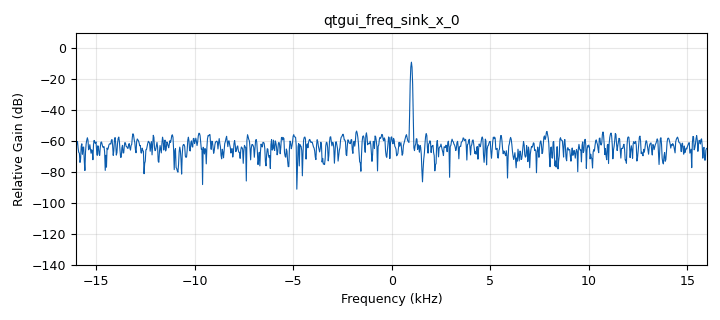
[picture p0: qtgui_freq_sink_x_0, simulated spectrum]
options:
  parameters:
    generate_options: qt_gui
    id: baseline_rx
    output_language: python
    title: Not titled yet
  states: {}

blocks:
- name: amp
  id: variable_qtgui_range
  parameters:
    label: Amplitude
    start: '0'
    step: '0.05'
    stop: '2'
    value: '1'
  states: {}
- name: noise
  id: variable
  parameters:
    value: '0.05'
  states: {}
- name: samp_rate
  id: variable
  parameters:
    value: '32000'
  states: {}
- name: threshold
  id: variable
  parameters:
    value: '0.2'
  states: {}
- name: analog_sig_source_x_0
  id: analog_sig_source_x
  parameters:
    amp: amp
    freq: '1000'
    offset: '0'
    phase: '0'
    samp_rate: samp_rate
    type: complex
    waveform: analog.GR_COS_WAVE
  states: {}
- name: blocks_complex_to_mag_squared_0
  id: blocks_complex_to_mag_squared
  parameters: {}
  states: {}
- name: blocks_moving_average_xx_0
  id: blocks_moving_average_xx
  parameters:
    length: '1024'
    max_iter: '4000'
    scale: 1/1024
    type: float
  states: {}
- name: blocks_throttle2_0
  id: blocks_throttle2
  parameters:
    samples_per_second: samp_rate
    type: complex
  states: {}
- name: channels_channel_model_0
  id: channels_channel_model
  parameters:
    epsilon: '1.0'
    freq_offset: '0.0'
    noise_voltage: noise
    seed: '0'
    taps: '1.0'
  states: {}
- name: epy_block_0
  id: epy_block
  parameters:
    _source_code: |
      """
      Embedded Python Blocks:

      Each time this file is saved, GRC will instantiate the first class it finds
      to get ports and parameters of your block. The arguments to __init__  will
      be the parameters. All of them are required to have default values!
      """

      import numpy as np
      from gnuradio import gr
      import socket
      import time 

      # this block prints the average power of the input signal every second. 
      # The power is printed in decibels (dB).
      class blk(gr.sync_block):  # other base classes are basic_block, decim_block, interp_block
          """Embedded Python Block example - a simple multiply const"""

          def __init__(self):  # only default arguments here
              """arguments to this function show up as parameters in GRC"""
              gr.sync_block.__init__(
                  self,
                  name='power_monitor',   
                  in_sig=[np.float32],
                  out_sig=None
              )
              # self.last_print = time.time()
              self.last_send = time.time()
              self.sock = socket.socket(socket.AF_INET, socket.SOCK_DGRAM)

          def work(self, input_items, output_items):
              samples = input_items[0]

              now = time.time()
              
              if now - self.last_send > 1.0:
                  # power = input_items[0][-1]
                  avg_power = float(np.mean(samples))
                  print(f"Average Power: {avg_power:.6f} dB")
                  self.last_send = now

                  # IPC επικοινωνία
                  self.sock.sendto(str(avg_power).encode(), ("127.0.0.1", 9999))
              
              return len(samples)
  states: {}
- name: epy_block_1
  id: epy_block
  parameters:
    _source_code: |-
      """
      Embedded Python Blocks:

      Each time this file is saved, GRC will instantiate the first class it finds
      to get ports and parameters of your block. The arguments to __init__  will
      be the parameters. All of them are required to have default values!
      """

      import numpy as np
      from gnuradio import gr
      import time


      class blk(gr.sync_block):  # other base classes are basic_block, decim_block, interp_block

          def __init__(self, threshold=1e-4):  # only default arguments here
              """arguments to this function show up as parameters in GRC"""
              gr.sync_block.__init__(
                  self,
                  name='signal_status',   # will show up in GRC
                  in_sig=[np.float32],
                  out_sig=None
              )
              # if an attribute with the same name as a parameter is found,
              # a callback is registered (properties work, too).
              self.threshold = threshold
              self.time_last_print = time.time()
              self.last_state = None

          def work(self, input_items, output_items):
              power = input_items[0][-1]
              state = 'ACTIVE' if power >= self.threshold else 'INACTIVE'
              now = time.time()
              if state != self.last_state and (now - self.time_last_print) > 1.0:
                  print(f"Signal is now {state} (Power: {power:.6f} dB)")
                  self.last_state = state
                  self.time_last_print = now
              return len(input_items[0])
    threshold: threshold
  states: {}
- name: qtgui_freq_sink_x_0
  id: qtgui_freq_sink_x
  parameters:
    bw: samp_rate
    fc: '0'
    fftsize: '1024'
    type: complex
  states: {}

connections:
- [analog_sig_source_x_0, '0', blocks_complex_to_mag_squared_0, '0']
- [analog_sig_source_x_0, '0', blocks_throttle2_0, '0']
- [blocks_complex_to_mag_squared_0, '0', blocks_moving_average_xx_0, '0']
- [blocks_moving_average_xx_0, '0', epy_block_0, '0']
- [blocks_moving_average_xx_0, '0', epy_block_1, '0']
- [blocks_throttle2_0, '0', channels_channel_model_0, '0']
- [channels_channel_model_0, '0', qtgui_freq_sink_x_0, '0']

metadata:
  file_format: 1
  grc_version: 3.10.9.2
